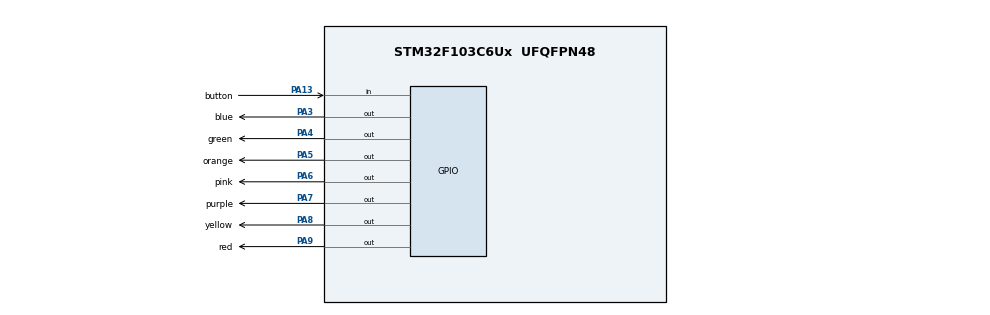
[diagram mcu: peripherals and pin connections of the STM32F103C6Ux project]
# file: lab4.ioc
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Mcu.Family=STM32F1
Mcu.Name=STM32F103C6Ux
Mcu.Package=UFQFPN48
NVIC.PriorityGroup=NVIC_PRIORITYGROUP_4
NVIC.TIM2_IRQn=true\:0\:0\:false\:false\:true\:true\:true\:true
PA13.GPIO_Label=button
PA13.GPIO_PuPd=GPIO_PULLUP
PA13.Signal=GPIO_Input
PA3.GPIO_Label=blue
PA3.Signal=GPIO_Output
PA4.GPIO_Label=green
PA4.Signal=GPIO_Output
PA5.GPIO_Label=orange
PA5.Signal=GPIO_Output
PA6.GPIO_Label=pink
PA6.Signal=GPIO_Output
PA7.GPIO_Label=purple
PA7.Signal=GPIO_Output
PA8.GPIO_Label=yellow
PA8.Signal=GPIO_Output
PA9.GPIO_Label=red
PA9.Signal=GPIO_Output
ProjectManager.HeapSize=0x200
ProjectManager.StackSize=0x400
ProjectManager.TargetToolchain=STM32CubeIDE
RCC.APB1Freq_Value=8000000
RCC.APB2Freq_Value=8000000
TIM2.Period=9
TIM2.Prescaler=7999
VP_TIM2_VS_ClockSourceINT.Mode=Internal
board=custom

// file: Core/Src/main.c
/* USER CODE BEGIN Header */
/**
  ******************************************************************************
  * @file           : main.c
  * @brief          : Main program body
  ******************************************************************************
  * @attention
  *
  * Copyright (c) 2022 STMicroelectronics.
  * All rights reserved.
  *
  * This software is licensed under terms that can be found in the LICENSE file
  * in the root directory of this software component.
  * If no LICENSE file comes with this software, it is provided AS-IS.
  *
  ******************************************************************************
  */
/* USER CODE END Header */
#include "main.h"

/* USER CODE BEGIN Includes */
#include "button.h"
#include "scheduler.h"
/* USER CODE END Includes */

TIM_HandleTypeDef htim2;

void SystemClock_Config(void);
static void MX_GPIO_Init(void);
static void MX_TIM2_Init(void);

/* USER CODE BEGIN 0 */
void ledBlue(){
	HAL_GPIO_TogglePin(blue_GPIO_Port, blue_Pin);
}
void ledGreen(){
	HAL_GPIO_TogglePin(green_GPIO_Port, green_Pin);
}
void ledOrange(){
	HAL_GPIO_TogglePin(orange_GPIO_Port, orange_Pin);
}
void ledPink(){
	HAL_GPIO_TogglePin(pink_GPIO_Port, pink_Pin);
}
void ledPurple(){
	HAL_GPIO_TogglePin(purple_GPIO_Port, purple_Pin);
}
void ledYellow(){
	HAL_GPIO_TogglePin(yellow_GPIO_Port, yellow_Pin);
}
void ledRed(){
	if(isButton1Pressed()) {
		HAL_GPIO_TogglePin(red_GPIO_Port, red_Pin);
	}
}
/* USER CODE END 0 */

int main(void)
{

  /* MCU Configuration--------------------------------------------------------*/

  /* Reset of all peripherals, Initializes the Flash interface and the Systick. */
  HAL_Init();

  /* Configure the system clock */
  SystemClock_Config();

  /* Initialize all configured peripherals */
  MX_GPIO_Init();
  MX_TIM2_Init();
  /* USER CODE BEGIN 2 */
  HAL_TIM_Base_Start_IT(&htim2);
  SCH_Add_Task(ledBlue, 500, 500);
  SCH_Add_Task(ledGreen, 1000, 1000);
  SCH_Add_Task(ledOrange, 1500, 1500);
  SCH_Add_Task(ledPink, 2000, 2000);
  SCH_Add_Task(ledPurple, 2500, 2500);
  SCH_Add_Task(ledYellow, 2000, 0);
  SCH_Add_Task(ledRed, TIME_CYCLE, TIME_CYCLE);
  /* USER CODE END 2 */

  /* Infinite loop */
  while (1)
  {

    /* USER CODE BEGIN 3 */
	  SCH_Dispatch_Tasks();
  }
  /* USER CODE END 3 */
}

void SystemClock_Config(void)
{
  RCC_OscInitTypeDef RCC_OscInitStruct = {0};
  RCC_ClkInitTypeDef RCC_ClkInitStruct = {0};

  /** Initializes the RCC Oscillators according to the specified parameters
  * in the RCC_OscInitTypeDef structure.
  */
  RCC_OscInitStruct.OscillatorType = RCC_OSCILLATORTYPE_HSI;
  RCC_OscInitStruct.HSIState = RCC_HSI_ON;
  RCC_OscInitStruct.HSICalibrationValue = RCC_HSICALIBRATION_DEFAULT;
  RCC_OscInitStruct.PLL.PLLState = RCC_PLL_NONE;
  if (HAL_RCC_OscConfig(&RCC_OscInitStruct) != HAL_OK)
  {
    Error_Handler();
  }

  /** Initializes the CPU, AHB and APB buses clocks
  */
  RCC_ClkInitStruct.ClockType = RCC_CLOCKTYPE_HCLK|RCC_CLOCKTYPE_SYSCLK
                              |RCC_CLOCKTYPE_PCLK1|RCC_CLOCKTYPE_PCLK2;
  RCC_ClkInitStruct.SYSCLKSource = RCC_SYSCLKSOURCE_HSI;
  RCC_ClkInitStruct.AHBCLKDivider = RCC_SYSCLK_DIV1;
  RCC_ClkInitStruct.APB1CLKDivider = RCC_HCLK_DIV1;
  RCC_ClkInitStruct.APB2CLKDivider = RCC_HCLK_DIV1;

  if (HAL_RCC_ClockConfig(&RCC_ClkInitStruct, FLASH_LATENCY_0) != HAL_OK)
  {
    Error_Handler();
  }
}

static void MX_TIM2_Init(void)
{

  TIM_ClockConfigTypeDef sClockSourceConfig = {0};
  TIM_MasterConfigTypeDef sMasterConfig = {0};

  htim2.Instance = TIM2;
  htim2.Init.Prescaler = 7999;
  htim2.Init.CounterMode = TIM_COUNTERMODE_UP;
  htim2.Init.Period = 9;
  htim2.Init.ClockDivision = TIM_CLOCKDIVISION_DIV1;
  htim2.Init.AutoReloadPreload = TIM_AUTORELOAD_PRELOAD_DISABLE;
  if (HAL_TIM_Base_Init(&htim2) != HAL_OK)
  {
    Error_Handler();
  }
  sClockSourceConfig.ClockSource = TIM_CLOCKSOURCE_INTERNAL;
  if (HAL_TIM_ConfigClockSource(&htim2, &sClockSourceConfig) != HAL_OK)
  {
    Error_Handler();
  }
  sMasterConfig.MasterOutputTrigger = TIM_TRGO_RESET;
  sMasterConfig.MasterSlaveMode = TIM_MASTERSLAVEMODE_DISABLE;
  if (HAL_TIMEx_MasterConfigSynchronization(&htim2, &sMasterConfig) != HAL_OK)
  {
    Error_Handler();
  }
  /* USER CODE BEGIN TIM2_Init 2 */
  TIME_CYCLE = 1/ (8e6 / (htim2.Init.Prescaler + 1) / (htim2.Init.Period + 1)) * 1000;
  /* USER CODE END TIM2_Init 2 */

}

static void MX_GPIO_Init(void)
{
  GPIO_InitTypeDef GPIO_InitStruct = {0};

  /* GPIO Ports Clock Enable */
  __HAL_RCC_GPIOA_CLK_ENABLE();

  /*Configure GPIO pin Output Level */
  HAL_GPIO_WritePin(GPIOA, blue_Pin|green_Pin|orange_Pin|pink_Pin
                          |purple_Pin|yellow_Pin|red_Pin, GPIO_PIN_RESET);

  /*Configure GPIO pins : blue_Pin green_Pin orange_Pin pink_Pin
                           purple_Pin yellow_Pin red_Pin */
  GPIO_InitStruct.Pin = blue_Pin|green_Pin|orange_Pin|pink_Pin
                          |purple_Pin|yellow_Pin|red_Pin;
  GPIO_InitStruct.Mode = GPIO_MODE_OUTPUT_PP;
  GPIO_InitStruct.Pull = GPIO_NOPULL;
  GPIO_InitStruct.Speed = GPIO_SPEED_FREQ_LOW;
  HAL_GPIO_Init(GPIOA, &GPIO_InitStruct);

  /*Configure GPIO pin : button_Pin */
  GPIO_InitStruct.Pin = button_Pin;
  GPIO_InitStruct.Mode = GPIO_MODE_INPUT;
  GPIO_InitStruct.Pull = GPIO_PULLUP;
  HAL_GPIO_Init(button_GPIO_Port, &GPIO_InitStruct);

}

/* USER CODE BEGIN 4 */
void HAL_TIM_PeriodElapsedCallback(TIM_HandleTypeDef *htim) {
	SCH_Update();
	getKeyInput1();
}
/* USER CODE END 4 */

void Error_Handler(void)
{
  __disable_irq();
  while (1)
  {
  }
}
